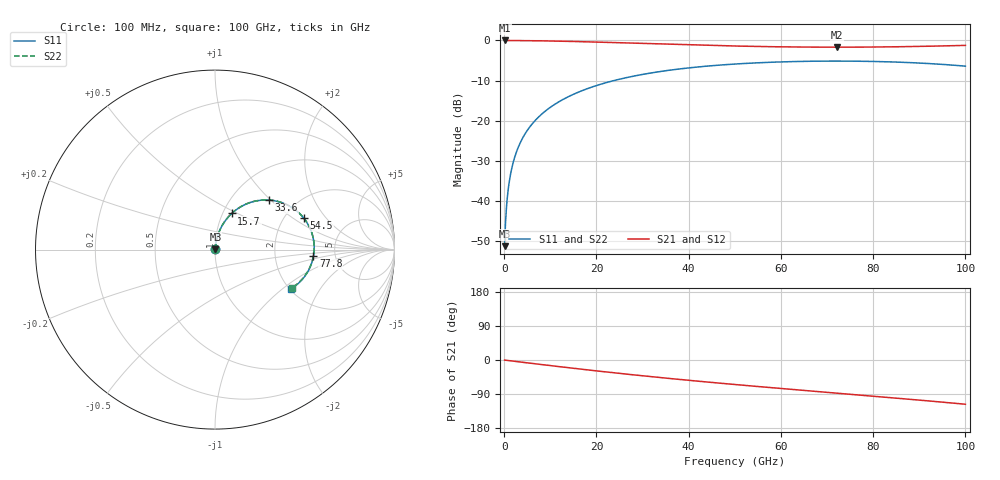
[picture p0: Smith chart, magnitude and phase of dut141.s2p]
! Touchstone file exported from HFSS 2026.1.0
!  File:  C:/ffzhzh/LocalFiles/Ansys_Project_Files/temp_train_RDL_141_1783499741_9504.aedt
!  Generated:  04:36:54 PM Jul  8, 2026
!  Design:  RDL
!  Project:  temp_train_RDL_141_1783499741_9504
! Variables:
!  h_bsmrdl = 2um
!  h_ox = 20um
!  h_rdl = 5um
!  h_sub = 80um
!  h_tmrdl = 3.64um
!  h_tsv = 80um
!  h_via = 3um
!  l_bsmrdl = 300um
!  l_sub = 797.6um
!  l_tmrdl = 397.6um
!  m_sub = 200um
!  pitch = 43.7um
!  r_tsv = 6um
!  s_tmrdl = 10um
!  w_bsmrdl = 18um
!  w_sub = 500um
!  w_tmrdl = 19.15um
!  x_tsv_center1 = 407.175um
!  x_tsv_center2 = 725.175um
!  x_tsv_center3 = 1141.925um
!  x_tsv_center4 = 1459.925um
!  x_tsv_center5 = 1876.675um
!  x_tsv_center6 = 2194.675um
# GHz S MA R 50.000000
! Terminal data exported
! Port[1] = TM_RDL1_1_T1
! Port[2] = TM_RDL1_1_T2
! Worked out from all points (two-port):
!   1000 points, 100 MHz to 100 GHz, reference 50 ohm
!   highest |S21| = -0.02 dB at 100 MHz (marker M1); lowest = -1.7 dB at 72.1 GHz (marker M2)
!   |S21| within 3 dB of the highest: start of sweep to end of sweep
!   lowest |S11| = -51.2 dB at 100 MHz (marker M3), VSWR 1.01, Z = 50.2 + j0.169 ohm
!   |S11| at or under -10 dB: start of sweep to 23.79 GHz
!   |S22| runs from -51.2 to -5.1 dB; largest |S21 - S12| = 1.5e-14
!   S11 on the Smith chart (normalised r, x): 100 MHz: 1.00, +0.00; 15.7 GHz: 1.10, +0.47; 33.6 GHz: 1.48, +0.98; 54.5 GHz: 2.53, +1.22; 77.8 GHz: 3.40, -0.37; 100 GHz: 2.04, -1.15
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0.1  0.002761 37.4  0.9978 -0.2  0.9978 -0.2  0.002761 37.4
! Gamma 0 0 0 0
! Port Impedance 50 0 50 0
0.4  0.006888 68.5  0.9975 -0.6  0.9975 -0.6  0.006888 68.5
0.8  0.01282 76.8  0.9972 -1.2  0.9972 -1.2  0.01282 76.8
1.1  0.01732 79.1  0.9971 -1.7  0.9971 -1.7  0.01732 79.1
1.4  0.02184 80.4  0.9969 -2.1  0.9969 -2.1  0.02184 80.4
2.4  0.03695 81.5  0.9962 -3.6  0.9962 -3.6  0.03695 81.5
3.8  0.05799 80.7  0.9947 -5.7  0.9947 -5.7  0.05798 80.7
5.8  0.08749 78.3  0.9916 -8.7  0.9916 -8.7  0.08749 78.4
8.4  0.1247 74.9  0.9865 -12.5  0.9865 -12.5  0.1247 74.9
11.7  0.1701 70.5  0.9786 -17.2  0.9786 -17.2  0.1701 70.5
15.7  0.2222 65.1  0.9671 -22.8  0.9671 -22.8  0.2222 65.2
16.8  0.2359 63.7  0.9636 -24.3  0.9636 -24.3  0.2359 63.7
24.2  0.3206 54.1  0.9379 -34.3  0.9379 -34.3  0.3206 54.1
33.4  0.4065 42.8  0.9036 -45.8  0.9036 -45.8  0.4064 42.9
33.6  0.4081 42.5  0.9028 -46.1  0.9028 -46.1  0.4081 42.6
50.1  0.5083 24.1  0.8508 -64.8  0.8508 -64.8  0.5083 24.3
54.5  0.5248 19.5  0.8409 -69.4  0.8409 -69.4  0.5247 19.7
66.7  0.5504 7.1  0.8247 -82.0  0.8247 -82.0  0.5504 7.4
72.1  0.5529 1.8  0.823 -87.4  0.823 -87.4  0.5529 2.1
77.8  0.5498 -3.9  0.8249 -93.2  0.8249 -93.2  0.5498 -3.6
83.4  0.5409 -9.6  0.8304 -98.9  0.8304 -98.9  0.5409 -9.2
100  0.4778 -27.1  0.8664 -116.8  0.8664 -116.8  0.4778 -26.5
